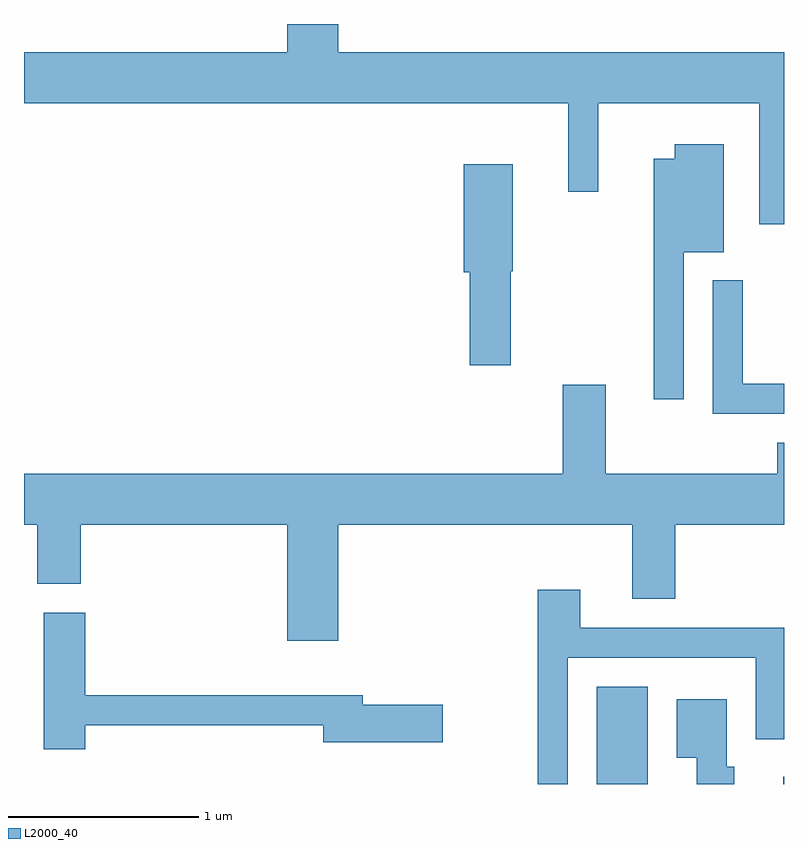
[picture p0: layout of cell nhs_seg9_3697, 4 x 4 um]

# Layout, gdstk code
import gdstk
lib = gdstk.Library(unit=1e-6, precision=1e-09)
def R(c, l, rs):  # rectangles x0, y0, x1, y1
    for r in rs: c.add(gdstk.rectangle(r[:2], r[2:], *l))
def P(c, l, *ps):  # polygons
    for p in ps: c.add(gdstk.Polygon(p, *l))
L2000_40 = (2000, 40)

nhs_seg9_3697 = lib.new_cell('nhs_seg9_3697')
R(nhs_seg9_3697, L2000_40, [(296.626,2010.432,296.894,2010.944), (297.608,2010.432,297.611,2010.469)])
P(nhs_seg9_3697, L2000_40, [(297.611,2014.284),(295.264,2014.284),(295.264,2014.432),(294.996,2014.432),(294.996,2014.284),(293.611,2014.284),(293.611,2014.016),(296.476,2014.016),(296.476,2013.548),(296.634,2013.548),(296.634,2014.016),(297.481,2014.016),(297.481,2013.378),(297.611,2013.378)],
  [(297.084,2013.231),(297.294,2013.231),(297.294,2013.799),(297.036,2013.799),(297.036,2013.724),(296.926,2013.724),(296.926,2012.458),(297.084,2012.458)],
  [(296.174,2013.13),(296.184,2013.13),(296.184,2013.694),(295.926,2013.694),(295.926,2013.126),(295.956,2013.126),(295.956,2012.636),(296.174,2012.636)],
  [(297.611,2012.539),(297.394,2012.539),(297.394,2013.083),(297.236,2013.083),(297.236,2012.381),(297.611,2012.381)],
  [(295.264,2011.796),(296.811,2011.796),(296.811,2011.406),(297.039,2011.406),(297.039,2011.796),(297.611,2011.796),(297.611,2012.229),(297.576,2012.229),(297.576,2012.064),(296.674,2012.064),(296.674,2012.534),(296.446,2012.534),(296.446,2012.064),(293.611,2012.064),(293.611,2011.796),(293.681,2011.796),(293.681,2011.486),(293.909,2011.486),(293.909,2011.796),(294.996,2011.796),(294.996,2011.186),(295.264,2011.186)],
  [(296.474,2011.096),(297.461,2011.096),(297.461,2010.668),(297.611,2010.668),(297.611,2011.254),(296.539,2011.254),(296.539,2011.454),(296.316,2011.454),(296.316,2010.432),(296.474,2010.432)],
  [(293.934,2010.741),(295.186,2010.741),(295.186,2010.651),(295.814,2010.651),(295.814,2010.849),(295.394,2010.849),(295.394,2010.899),(293.934,2010.899),(293.934,2011.334),(293.716,2011.334),(293.716,2010.616),(293.934,2010.616)],
  [(297.349,2010.524),(297.309,2010.524),(297.309,2010.879),(297.046,2010.879),(297.046,2010.571),(297.151,2010.571),(297.151,2010.432),(297.349,2010.432)])

lib.write_gds('nhs_seg9_3697.gds')
